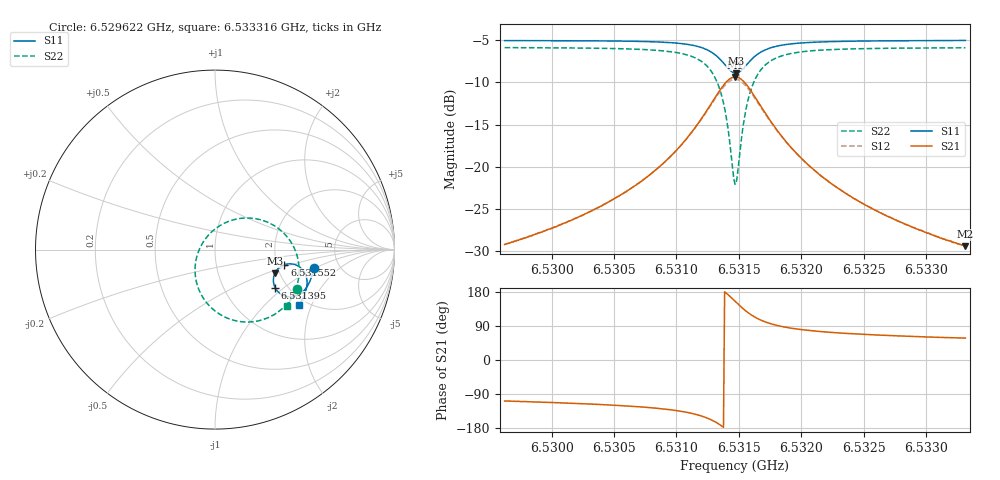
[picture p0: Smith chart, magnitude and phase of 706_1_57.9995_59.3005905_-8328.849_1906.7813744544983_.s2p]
#  HZ  S  RI  R  50.00
! Rohde & Schwarz Vector Network Analyzer
! Rohde-Schwarz,ZNB20-2Port,1311601062101988,3.16
! Created: UTC 3/21/2024, 1:21:58 AM
! freq[Hz]  re:S11  im:S11  re:S21  im:S21  re:S12  im:S12  re:S22  im:S22
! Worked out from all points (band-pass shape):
!   401 points, 6.529622 GHz to 6.533316 GHz, reference 50 ohm
!   highest |S21| = -9.34 dB at 6.531469 GHz (marker M1); lowest = -29.5 dB at 6.533316 GHz (marker M2)
!   |S21| within 3 dB of the highest: 6.531286 GHz to 6.531655 GHz (369 kHz wide, 0.00565 % of centre)
!   lowest |S11| = -8.9 dB at 6.531479 GHz (marker M3), VSWR 2.12, Z = 94.4 - j28.7 ohm
!   |S11| at or under -10 dB: nowhere
!   |S22| runs from -22.1 to -5.9 dB; largest |S21 - S12| = 0.014
!   S11 on the Smith chart (normalised r, x): 6.529622 GHz: 3.24, -0.96; 6.531395 GHz: 1.73, -0.88; 6.531552 GHz: 2.20, -0.44; 6.533316 GHz: 1.82, -1.64
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6.5296223e9  0.551 -0.1015  -0.0108 -0.0327  -0.0115 -0.0325  0.4586 -0.2209
6.5302411e9  0.5373 -0.1538  -0.0218 -0.0462  -0.0231 -0.0458  0.4219 -0.2793
6.5305643e9  0.5249 -0.1848  -0.0349 -0.0591  -0.0366 -0.0582  0.3875 -0.3178
6.5308598e9  0.5048 -0.2181  -0.0609 -0.0783  -0.0634 -0.0765  0.3288 -0.3627
6.5310722e9  0.4743 -0.2463  -0.106 -0.0972  -0.1089 -0.0933  0.2387 -0.3977
6.5312384e9  0.4216 -0.2632  -0.188 -0.0991  -0.1897 -0.0909  0.0899 -0.3897
6.5313308e9  0.3714 -0.2505  -0.2651 -0.0605  -0.2623 -0.0491  -0.0354 -0.3091
6.5313677e9  0.3495 -0.233  -0.2968 -0.024  -0.2906 -0.0126  -0.0813 -0.2415
6.5313954e9  0.3357 -0.2134  -0.3155 0.0138  -0.3065 0.0242  -0.1047 -0.1752
6.5314508e9  0.3258 -0.1602  -0.3208 0.1097  -0.3077 0.1148  -0.0946 -0.017
6.5314693e9  0.3301 -0.1413  -0.31 0.1426  -0.2966 0.1451  -0.0706 0.0342
6.5314785e9  0.3338 -0.1322  -0.3021 0.158  -0.2889 0.1593  -0.055 0.058
6.531497e9  0.3436 -0.1156  -0.2821 0.1861  -0.2696 0.1852  -0.0172 0.1001
6.5315247e9  0.3636 -0.0961  -0.2442 0.2183  -0.2338 0.2152  0.0502 0.1462
6.5315524e9  0.3867 -0.0842  -0.2026 0.2377  -0.1945 0.2333  0.1219 0.1707
6.5316171e9  0.4369 -0.0814  -0.115 0.2418  -0.1111 0.2375  0.2687 0.1618
6.5317094e9  0.4815 -0.1051  -0.0393 0.2052  -0.0378 0.203  0.3907 0.0839
6.5318479e9  0.5067 -0.1448  0.00478 0.1499  0.00595 0.1491  0.455 -0.0262
6.532088e9  0.5127 -0.1922  0.0219 0.0952  0.023 0.0948  0.4681 -0.1377
6.5323651e9  0.5063 -0.2279  0.0234 0.0648  0.0244 0.0644  0.4551 -0.2061
6.5327068e9  0.4942 -0.2611  0.0215 0.0453  0.0224 0.0449  0.4347 -0.2569
6.5333163e9  0.4694 -0.3082  0.018 0.0285  0.0186 0.0281  0.3991 -0.3143
